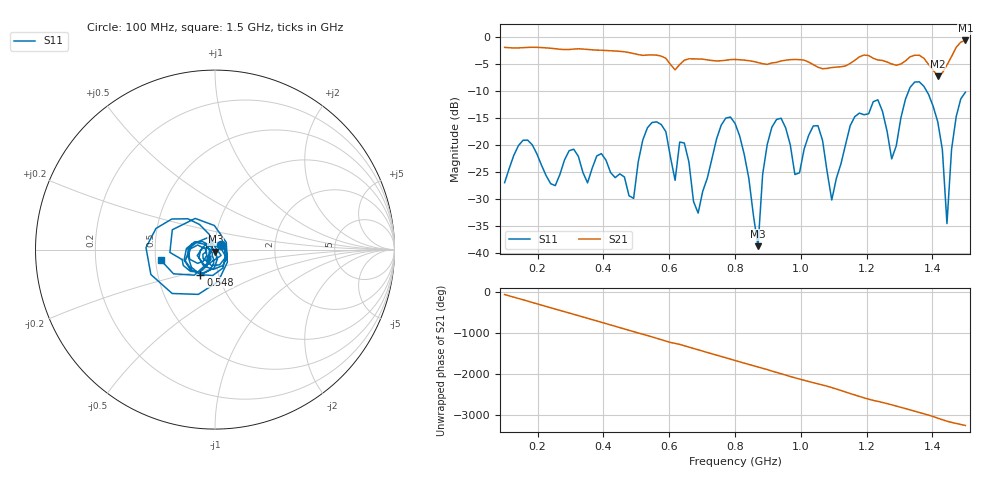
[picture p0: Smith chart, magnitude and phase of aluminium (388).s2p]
! NanoVNA-App
! Date: 2025-09-25 14:58:18
! Start: 100MHz Stop: 1,5GHz Points: 101
! S-Parameter data: F S11 S21 S12 S22
# Hz S RI R 50
!  Frequency  S11_Real  S11_Imag  S21_Real  S21_Imag  S12_Real  S12_Imag  S22_Real  S22_Imag
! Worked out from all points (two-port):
!   101 points, 100 MHz to 1.5 GHz, reference 50 ohm
!   highest |S21| = -0.64 dB at 1.5 GHz (marker M1); lowest = -7.2 dB at 1.416 GHz (marker M2)
!   |S21| within 3 dB of the highest: start of sweep to 579.4 MHz; 1.458 GHz to end of sweep (the widest 2 of 4)
!   lowest |S11| = -38.7 dB at 870 MHz (marker M3), VSWR 1.02, Z = 50.2 - j1.15 ohm
!   |S11| at or under -10 dB: start of sweep to 1.328 GHz; 1.382 GHz to end of sweep
!   S12 and S22 are empty: the file has one direction only
!   S11 on the Smith chart (normalised r, x): 100 MHz: 1.07, +0.06; 548 MHz: 0.82, -0.24; 1.5 GHz: 0.53, -0.07
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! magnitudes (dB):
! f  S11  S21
! 100 MHz  -27.0  -1.9
! 156 MHz  -19.1  -2.0
! 338 MHz  -25.1  -2.2
! 492 MHz  -29.9  -3.1
! 548 MHz  -15.8  -3.3
! 576 MHz  -16.2  -3.5
! 618 MHz  -26.5  -6.1
! 646 MHz  -19.6  -4.3
! 688 MHz  -32.6  -4.1
! 800 MHz  -16.0  -4.2
! 870 MHz  -38.7  -4.7
! 912 MHz  -16.7  -4.8
! 982 MHz  -25.5  -4.2
! 1.038 GHz  -16.5  -5.1
! 1.094 GHz  -30.2  -5.7
! 1.22 GHz  -12.0  -3.9
! 1.276 GHz  -22.6  -5.0
! 1.346 GHz  -8.3  -3.4
! 1.416 GHz  -15.7  -7.2
! 1.444 GHz  -34.5  -5.2
! 1.458 GHz  -20.8  -3.6
! 1.5 GHz  -10.2  -0.6
